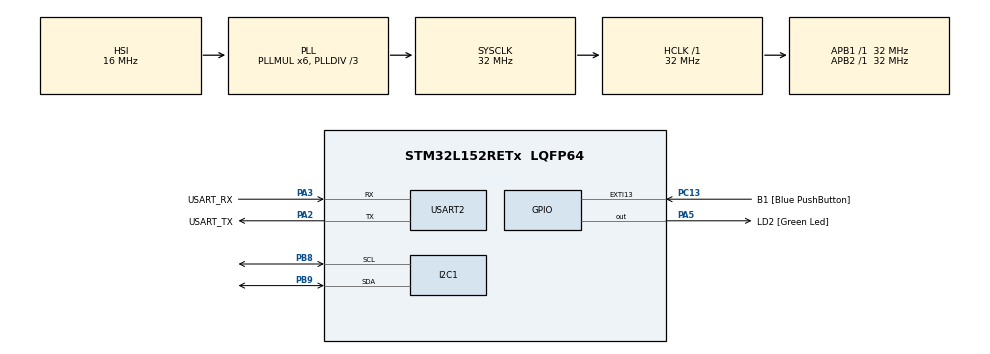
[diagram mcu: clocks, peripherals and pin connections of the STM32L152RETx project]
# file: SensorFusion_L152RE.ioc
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Mcu.Family=STM32L1
Mcu.Name=STM32L152RETx
Mcu.Package=LQFP64
NVIC.PriorityGroup=NVIC_PRIORITYGROUP_0
NVIC.TIM3_IRQn=true\:0\:0\:false\:false\:true\:true
PA13.Mode=Serial_Wire
PA13.Signal=SYS_JTMS-SWDIO
PA14.Mode=Serial_Wire
PA14.Signal=SYS_JTCK-SWCLK
PA2.GPIO_Label=USART_TX
PA2.Mode=Asynchronous
PA2.Signal=USART2_TX
PA3.GPIO_Label=USART_RX
PA3.Mode=Asynchronous
PA3.Signal=USART2_RX
PA5.GPIO_Label=LD2 [Green Led]
PA5.Signal=GPIO_Output
PB8.Mode=I2C
PB8.Signal=I2C1_SCL
PB9.Mode=I2C
PB9.Signal=I2C1_SDA
PC13-WKUP2.GPIO_Label=B1 [Blue PushButton]
PC13-WKUP2.Signal=GPXTI13
ProjectManager.HeapSize=0x200
ProjectManager.StackSize=0x400
ProjectManager.TargetToolchain=SW4STM32
RCC.48MHZClocksFreq_Value=48000000
RCC.AHBFreq_Value=32000000
RCC.APB1Freq_Value=32000000
RCC.APB1TimFreq_Value=32000000
RCC.APB2Freq_Value=32000000
RCC.APB2TimFreq_Value=32000000
RCC.HCLKFreq_Value=32000000
RCC.HSE_VALUE=8000000
RCC.HSI_VALUE=16000000
RCC.LSE_VALUE=32768
RCC.MSI_VALUE=2097000
RCC.PLLDIV=RCC_PLL_DIV3
RCC.PLLMUL=RCC_PLL_MUL6
RCC.RTCClockSelectionVirtual=RCC_RTCCLKSOURCE_LSE
RCC.SYSCLKFreq_VALUE=32000000
RCC.SYSCLKSource=RCC_SYSCLKSOURCE_PLLCLK
RCC.USBOutput=48000000
RCC.VCOOutputFreq_Value=96000000
TIM3.Period=3000
TIM3.Prescaler=32000
USART2.VirtualMode=VM_ASYNC
VP_TIM3_VS_ClockSourceINT.Mode=Internal
board=NUCLEO-L152RE

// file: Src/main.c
/**
 ******************************************************************************
 * File Name          : main.c
 * Description        : Main program body
 ******************************************************************************
 ** This notice applies to any and all portions of this file
 * that are not between comment pairs USER CODE BEGIN and
 * USER CODE END. Other portions of this file, whether
 * inserted by the user or by software development tools
 * are owned by their respective copyright owners.
 *
 * COPYRIGHT(c) 2017 STMicroelectronics
 *
 * Redistribution and use in source and binary forms, with or without modification,
 * are permitted provided that the following conditions are met:
 *   1. Redistributions of source code must retain the above copyright notice,
 *      this list of conditions and the following disclaimer.
 *   2. Redistributions in binary form must reproduce the above copyright notice,
 *      this list of conditions and the following disclaimer in the documentation
 *      and/or other materials provided with the distribution.
 *   3. Neither the name of STMicroelectronics nor the names of its contributors
 *      may be used to endorse or promote products derived from this software
 *      without specific prior written permission.
 *
 * THIS SOFTWARE IS PROVIDED BY THE COPYRIGHT HOLDERS AND CONTRIBUTORS "AS IS"
 * AND ANY EXPRESS OR IMPLIED WARRANTIES, INCLUDING, BUT NOT LIMITED TO, THE
 * IMPLIED WARRANTIES OF MERCHANTABILITY AND FITNESS FOR A PARTICULAR PURPOSE ARE
 * DISCLAIMED. IN NO EVENT SHALL THE COPYRIGHT HOLDER OR CONTRIBUTORS BE LIABLE
 * FOR ANY DIRECT, INDIRECT, INCIDENTAL, SPECIAL, EXEMPLARY, OR CONSEQUENTIAL
 * DAMAGES (INCLUDING, BUT NOT LIMITED TO, PROCUREMENT OF SUBSTITUTE GOODS OR
 * SERVICES; LOSS OF USE, DATA, OR PROFITS; OR BUSINESS INTERRUPTION) HOWEVER
 * CAUSED AND ON ANY THEORY OF LIABILITY, WHETHER IN CONTRACT, STRICT LIABILITY,
 * OR TORT (INCLUDING NEGLIGENCE OR OTHERWISE) ARISING IN ANY WAY OUT OF THE USE
 * OF THIS SOFTWARE, EVEN IF ADVISED OF THE POSSIBILITY OF SUCH DAMAGE.
 *
 ******************************************************************************
 */

#include "main.h"
#include "stm32l1xx_hal.h"

/* USER CODE BEGIN Includes */
//#include "LPS22HB_driver.cpp"
//#include "LSM303AGR_driver.cpp"
#include <string.h>
#include <stdio.h>
#include <strings.h>
#include <limits.h>
#include <math.h>
/* USER CODE END Includes */

I2C_HandleTypeDef hi2c1;
TIM_HandleTypeDef htim3;
UART_HandleTypeDef huart2;

/* USER CODE BEGIN PV */
/* Private variables ---------------------------------------------------------*/
typedef short int i16_t;
typedef unsigned char u8_t;

typedef enum {
	TWOS_COMPLEMENT_24_BIT = 24, TWOS_COMPLEMENT_16_BIT = 16,
} SignBitIndex;

typedef union {
	i16_t i16bit[3];
	u8_t u8bit[6];
} LSM303AGR_ACC_DATA;

/*
 * Following is the table of sensitivity values for each case.
 * Values are espressed in ug/digit.
 */
const long long LSM303AGR_ACC_Sensitivity_List[3][4] = {
/* HR 12-bit */
{ 980, /* FS @2g */
1950, /* FS @4g */
3900, /* FS @8g */
11720, /* FS @16g */
},

/* Normal 10-bit */
{ 3900, /* FS @2g */
7820, /* FS @4g */
15630, /* FS @8g */
46900, /* FS @16g */
},

/* LP 8-bit */
{ 15630, /* FS @2g */
31260, /* FS @4g */
62520, /* FS @8g */
187580, /* FS @16g */
}, };

HAL_I2C_StateTypeDef status = HAL_OK;
//I2C address of the accelerometer and magnetometer
//Shift already applied
#define LSM303AGR_ACC_I2C_ADDRESS         0x32
#define LSM303AGR_MAG_I2C_ADDRESS         0x3C

//Who am I
#define LSM303AGR_ACC_WHO_AM_I         0x33
#define LSM303AGR_MAG_WHO_AM_I         0x40

//Important register accelerometer
#define LSM303AGR_ACC_WHO_AM_I_REG      0X0F
#define LSM303AGR_ACC_TEMP_CFG_REG      0X1F
#define LSM303AGR_ACC_CTRL_REG1     0X20
#define LSM303AGR_ACC_CTRL_REG2     0X21
#define LSM303AGR_ACC_CTRL_REG3     0X22
#define LSM303AGR_ACC_CTRL_REG4     0X23
#define LSM303AGR_ACC_CTRL_REG5     0X24
#define LSM303AGR_ACC_CTRL_REG6     0X25
#define LSM303AGR_ACC_OUT_X_L   0X28
#define LSM303AGR_ACC_OUT_X_H   0X29
#define LSM303AGR_ACC_OUT_Y_L   0X2A
#define LSM303AGR_ACC_OUT_Y_H   0X2B
#define LSM303AGR_ACC_OUT_Z_L   0X2C
#define LSM303AGR_ACC_OUT_Z_H   0X2D
#define LSM303AGR_ACC_MULTIREAD (LSM303AGR_ACC_OUT_X_L | 0x80)
#define LSM303_ACC_XYZ_ENABLE 0x07
#define LSM303_ACC_100HZ 0x50
#define LSM303_ACC_I1_DRDY2 0x08

#define LSM303AGR_MAG_WHO_AM_I_REG      0X4F
#define LSM303AGR_MAG_CFG_REG_A     0X60
#define LSM303AGR_MAG_CFG_REG_B     0X61
#define LSM303AGR_MAG_CFG_REG_C     0X62
#define LSM303AGR_MAG_OUTX_L_REG    0X68
#define LSM303AGR_MAG_OUTX_H_REG    0X69
#define LSM303AGR_MAG_OUTY_L_REG    0X6A
#define LSM303AGR_MAG_OUTY_H_REG    0X6B
#define LSM303AGR_MAG_OUTZ_L_REG    0X6C
#define LSM303AGR_MAG_OUTZ_H_REG    0X6D
#define LSM303AGR_MAG_MULTIREAD (LSM303AGR_MAG_OUTX_L_REG | 0x80)
#define LSM303_SETTINGS1 0x00 // Mag = 10 Hz (HR and continuous mode) //This has to be set to single mode for lower power consumption
#define LSM303_SETTINGS2 0x01 // Mag data-ready interrupt enable

#define X 0
#define Y 1
#define Z 2

int32_t axes_a[3];
int32_t axes_m[3];
float roll = 0, pitch = 0, roll_rad = 0, pitch_rad = 0;
float yaw_rad = 0, degree = 0, godr = 0;
float temp[3] = { }, hardCor[3] = { };

/* USER CODE END PV */

void SystemClock_Config(void);
static void MX_GPIO_Init(void);
static void MX_USART2_UART_Init(void);
static void MX_I2C1_Init(void);
static void MX_TIM3_Init(void);

/* USER CODE BEGIN PFP */
/* Private function prototypes -----------------------------------------------*/
#ifdef __GNUC__
/* With GCC/RAISONANCE, small printf (option LD Linker->Libraries->Small printf
 set to 'Yes') calls __io_putchar() */
#define PUTCHAR_PROTOTYPE int __io_putchar(int ch)
#else
#define PUTCHAR_PROTOTYPE int fputc(int ch, FILE *f)
#endif /* __GNUC__ */
/**
 * @brief  Retargets the C library printf function to the USART.
 * @param  None
 * @retval None
 */
PUTCHAR_PROTOTYPE {
	/* Place your implementation of fputc here */
	/* e.g. write a character to the EVAL_COM1 and Loop until the end of transmission */
	HAL_UART_Transmit(&huart2, (uint8_t *) &ch, 1, 0xFFFF);

	return ch;
}
int64_t twosComplementToSignedInteger(uint32_t rawValue, SignBitIndex sbi);
/* USER CODE END PFP */

int main(void) {

	/* MCU Configuration----------------------------------------------------------*/
	/* Reset of all peripherals, Initializes the Flash interface and the Systick. */
	HAL_Init();

	/* Configure the system clock */
	SystemClock_Config();

	/* Initialize all configured peripherals */
	MX_GPIO_Init();
	MX_USART2_UART_Init();
	MX_I2C1_Init();
	MX_TIM3_Init();

	/* USER CODE BEGIN 2 */
	//Check the who am I
	// 5ms boot procedure
	HAL_Delay(10);

	// Reading the who am I register for checking
	uint8_t hwID[1];
	HAL_I2C_Mem_Read(&hi2c1, LSM303AGR_ACC_I2C_ADDRESS,
	LSM303AGR_ACC_WHO_AM_I_REG, I2C_MEMADD_SIZE_8BIT, hwID, sizeof(hwID),
	HAL_MAX_DELAY);
	if (hwID[0] == LSM303AGR_ACC_WHO_AM_I) {
		printf("WHO_AM_I of accelerometer correct!!\r\n");
	} else {
		printf("Error!!\r\n");
	}

	uint8_t Settings = LSM303_ACC_XYZ_ENABLE | LSM303_ACC_100HZ;
	// I2C write settings
	HAL_I2C_Mem_Write(&hi2c1, LSM303AGR_ACC_I2C_ADDRESS,
	LSM303AGR_ACC_CTRL_REG1, 1, &Settings, 1, 100);
	Settings = LSM303_ACC_I1_DRDY2;
	HAL_I2C_Mem_Write(&hi2c1, LSM303AGR_ACC_I2C_ADDRESS,
	LSM303AGR_ACC_CTRL_REG3, 1, &Settings, 1, 100);

	// Mag = 10 Hz (HR and continuous mode) //This has to be set to single mode for lower power consumption
	Settings = LSM303_SETTINGS1;
	HAL_I2C_Mem_Write(&hi2c1, LSM303AGR_MAG_I2C_ADDRESS,
	LSM303AGR_MAG_CFG_REG_A, 1, &Settings, 1, 100);

	// Mag data-ready interrupt enable
	Settings = LSM303_SETTINGS2;
	HAL_I2C_Mem_Write(&hi2c1, LSM303AGR_MAG_I2C_ADDRESS,
	LSM303AGR_MAG_CFG_REG_C, 1, &Settings, 1, 100);

	printf("Devices ready\r\n");
	/* USER CODE END 2 */

	/* Infinite loop */
	while (1) {

		/* USER CODE BEGIN 3 */
		get_x_axes(axes_a);
		printf("LSM303AGR [acc/mg]:  %6ld, %6ld, %6ld\r\n", axes_a[0],
				axes_a[1], axes_a[2]);

		get_m_axes(axes_m);
		printf("LSM303AGR [mag/mgauss]:  %6ld, %6ld, %6ld\r\n", axes_m[0],
				axes_m[1], axes_m[2]);

		HAL_Delay(1000);

		printf("\r\n");
		roll_rad = atan2((float) axes_a[Y], axes_a[Z]);
		roll = roll_rad * 57.296;

		temp[0] = (float) axes_a[Y] * sin(roll_rad);
		temp[1] = cos(roll_rad) * (float) axes_a[Z] + temp[0];
		pitch_rad = -atan2((float) axes_a[X],
				sqrt(pow((float) axes_a[Y], 2) + pow((float) axes_a[Z], 2)));//temp[1]);
		pitch = pitch_rad * 57.296;
		printf("Angle: roll: %6lf   pitch: %6lf \r\n ", roll, pitch);

		//Determining where the head of the compass is pointed at
		temp[0] = axes_m[Z] * sin(roll_rad) - axes_m[Y] * cos(roll_rad);
		temp[1] = axes_m[Y] * sin(roll_rad) + axes_m[Z] * cos(roll_rad);
		temp[2] = axes_m[X] * cos(pitch_rad) + temp[1] * sin(pitch_rad);
		yaw_rad = atan2((float) temp[0], temp[2]);
		degree = yaw_rad * 57.296; //180/PI
		degree = degree + 50;

		//Transforming degrees into a wind direction
		if (degree > 360) {
			degree = degree - 360;
		}
		if (degree < 0) {
			degree = degree + 360;
		}
		printf("degree: %lf\r\n", degree);
		if (degree > 22.5 && degree < 67.5) {
			printf("Direction: North-East\r\n");
		} else if (degree > 67.5 && degree < 112.5) {
			printf("Direction: East\r\n");
		} else if (degree > 112.5 && degree < 157.5) {
			printf("Direction: South-East\r\n");
		} else if (degree > 157.5 && degree < 202.5) {
			printf("Direction: South\r\n");
		} else if (degree > 202.5 && degree < 247.5) {
			printf("Direction: South-West\r\n");
		} else if (degree > 247.5 && degree < 292.5) {
			printf("Direction: West\r\n");
		} else if (degree > 292.5 && degree < 337.25) {
			printf("Direction: North-West\r\n");
		} else if (degree > 337.25 || degree < 22.5) {
			printf("Direction: North\r\n");
		}

		HAL_Delay(1000);

	}
	/* USER CODE END 3 */

}

/** System Clock Configuration
 */
void SystemClock_Config(void) {

	RCC_OscInitTypeDef RCC_OscInitStruct;
	RCC_ClkInitTypeDef RCC_ClkInitStruct;

	/**Configure the main internal regulator output voltage
	 */
	__HAL_PWR_VOLTAGESCALING_CONFIG(PWR_REGULATOR_VOLTAGE_SCALE1);

	/**Initializes the CPU, AHB and APB busses clocks
	 */
	RCC_OscInitStruct.OscillatorType = RCC_OSCILLATORTYPE_HSI;
	RCC_OscInitStruct.HSIState = RCC_HSI_ON;
	RCC_OscInitStruct.HSICalibrationValue = 16;
	RCC_OscInitStruct.PLL.PLLState = RCC_PLL_ON;
	RCC_OscInitStruct.PLL.PLLSource = RCC_PLLSOURCE_HSI;
	RCC_OscInitStruct.PLL.PLLMUL = RCC_PLL_MUL6;
	RCC_OscInitStruct.PLL.PLLDIV = RCC_PLL_DIV3;
	if (HAL_RCC_OscConfig(&RCC_OscInitStruct) != HAL_OK) {
		_Error_Handler(__FILE__, __LINE__);
	}

	/**Initializes the CPU, AHB and APB busses clocks
	 */
	RCC_ClkInitStruct.ClockType = RCC_CLOCKTYPE_HCLK | RCC_CLOCKTYPE_SYSCLK
			| RCC_CLOCKTYPE_PCLK1 | RCC_CLOCKTYPE_PCLK2;
	RCC_ClkInitStruct.SYSCLKSource = RCC_SYSCLKSOURCE_PLLCLK;
	RCC_ClkInitStruct.AHBCLKDivider = RCC_SYSCLK_DIV1;
	RCC_ClkInitStruct.APB1CLKDivider = RCC_HCLK_DIV1;
	RCC_ClkInitStruct.APB2CLKDivider = RCC_HCLK_DIV1;

	if (HAL_RCC_ClockConfig(&RCC_ClkInitStruct, FLASH_LATENCY_1) != HAL_OK) {
		_Error_Handler(__FILE__, __LINE__);
	}

	/**Configure the Systick interrupt time
	 */
	HAL_SYSTICK_Config(HAL_RCC_GetHCLKFreq() / 1000);

	/**Configure the Systick
	 */
	HAL_SYSTICK_CLKSourceConfig(SYSTICK_CLKSOURCE_HCLK);

	/* SysTick_IRQn interrupt configuration */
	HAL_NVIC_SetPriority(SysTick_IRQn, 0, 0);
}

/* I2C1 init function */
static void MX_I2C1_Init(void) {

	hi2c1.Instance = I2C1;
	hi2c1.Init.ClockSpeed = 100000;
	hi2c1.Init.DutyCycle = I2C_DUTYCYCLE_2;
	hi2c1.Init.OwnAddress1 = 0;
	hi2c1.Init.AddressingMode = I2C_ADDRESSINGMODE_7BIT;
	hi2c1.Init.DualAddressMode = I2C_DUALADDRESS_DISABLE;
	hi2c1.Init.OwnAddress2 = 0;
	hi2c1.Init.GeneralCallMode = I2C_GENERALCALL_DISABLE;
	hi2c1.Init.NoStretchMode = I2C_NOSTRETCH_DISABLE;
	if (HAL_I2C_Init(&hi2c1) != HAL_OK) {
		_Error_Handler(__FILE__, __LINE__);
	}

}

/* TIM3 init function */
static void MX_TIM3_Init(void) {

	TIM_ClockConfigTypeDef sClockSourceConfig;
	TIM_MasterConfigTypeDef sMasterConfig;

	htim3.Instance = TIM3;
	htim3.Init.Prescaler = 32000;
	htim3.Init.CounterMode = TIM_COUNTERMODE_UP;
	htim3.Init.Period = 3000;
	htim3.Init.ClockDivision = TIM_CLOCKDIVISION_DIV1;
	if (HAL_TIM_Base_Init(&htim3) != HAL_OK) {
		_Error_Handler(__FILE__, __LINE__);
	}

	sClockSourceConfig.ClockSource = TIM_CLOCKSOURCE_INTERNAL;
	if (HAL_TIM_ConfigClockSource(&htim3, &sClockSourceConfig) != HAL_OK) {
		_Error_Handler(__FILE__, __LINE__);
	}

	sMasterConfig.MasterOutputTrigger = TIM_TRGO_RESET;
	sMasterConfig.MasterSlaveMode = TIM_MASTERSLAVEMODE_DISABLE;
	if (HAL_TIMEx_MasterConfigSynchronization(&htim3, &sMasterConfig)
			!= HAL_OK) {
		_Error_Handler(__FILE__, __LINE__);
	}

}

/* USART2 init function */
static void MX_USART2_UART_Init(void) {

	huart2.Instance = USART2;
	huart2.Init.BaudRate = 9600;
	huart2.Init.WordLength = UART_WORDLENGTH_8B;
	huart2.Init.StopBits = UART_STOPBITS_1;
	huart2.Init.Parity = UART_PARITY_NONE;
	huart2.Init.Mode = UART_MODE_TX_RX;
	huart2.Init.HwFlowCtl = UART_HWCONTROL_NONE;
	huart2.Init.OverSampling = UART_OVERSAMPLING_16;
	if (HAL_UART_Init(&huart2) != HAL_OK) {
		_Error_Handler(__FILE__, __LINE__);
	}

}

/** Configure pins as
 * Analog
 * Input
 * Output
 * EVENT_OUT
 * EXTI
 */
static void MX_GPIO_Init(void) {

	GPIO_InitTypeDef GPIO_InitStruct;

	/* GPIO Ports Clock Enable */
	__HAL_RCC_GPIOC_CLK_ENABLE()
	;
	__HAL_RCC_GPIOA_CLK_ENABLE()
	;
	__HAL_RCC_GPIOB_CLK_ENABLE()
	;

	/*Configure GPIO pin Output Level */
	HAL_GPIO_WritePin(LD2_GPIO_Port, LD2_Pin, GPIO_PIN_RESET);

	/*Configure GPIO pin : B1_Pin */
	GPIO_InitStruct.Pin = B1_Pin;
	GPIO_InitStruct.Mode = GPIO_MODE_IT_RISING;
	GPIO_InitStruct.Pull = GPIO_NOPULL;
	HAL_GPIO_Init(B1_GPIO_Port, &GPIO_InitStruct);

	/*Configure GPIO pin : LD2_Pin */
	GPIO_InitStruct.Pin = LD2_Pin;
	GPIO_InitStruct.Mode = GPIO_MODE_OUTPUT_PP;
	GPIO_InitStruct.Pull = GPIO_NOPULL;
	GPIO_InitStruct.Speed = GPIO_SPEED_FREQ_LOW;
	HAL_GPIO_Init(LD2_GPIO_Port, &GPIO_InitStruct);

}

/* USER CODE BEGIN 4 */

int64_t twosComplementToSignedInteger(uint32_t rawValue, SignBitIndex sbi) {
	switch (sbi) {
	case TWOS_COMPLEMENT_24_BIT: {
		if ((rawValue & 0x00800000) == 0)
			return (rawValue & 0x00FFFFFF);
		return ((int64_t) (~((rawValue & 0x00FFFFFF) - 1))) * -1;
	}
	case TWOS_COMPLEMENT_16_BIT: {
		if ((rawValue & 0x00008000) == 0)
			return (rawValue & 0x0000FFFF);
		return ((int64_t) (~((rawValue & 0x0000FFFF) - 1))) * -1;
	}
	default:
		return NAN;
	}
}

HAL_I2C_StateTypeDef LSM303AGR_ACC_readRegister(uint8_t reg, uint8_t pData[]) {

	return HAL_I2C_Mem_Read(&hi2c1, LSM303AGR_ACC_I2C_ADDRESS, reg,
	I2C_MEMADD_SIZE_8BIT, pData, sizeof(pData), HAL_MAX_DELAY);
}

HAL_I2C_StateTypeDef LSM303AGR_MAG_readRegister(uint8_t reg, uint8_t pData[]) {

	return HAL_I2C_Mem_Read(&hi2c1, LSM303AGR_MAG_I2C_ADDRESS, reg,
	I2C_MEMADD_SIZE_8BIT, pData, sizeof(pData), HAL_MAX_DELAY);

}

/**
 * @brief  Read data from LSM303AGR Accelerometer
 * @param  pData the pointer where the accelerometer data are stored
 * @retval 0 in case of success, an error code otherwise
 */
void get_x_axes(int32_t *pData) {

	int data[3];

	/* Read data from LSM303AGR. */
	LSM303AGR_ACC_Get_Acceleration(data);

	/* Calculate the data. */
	pData[0] = (int32_t) data[0];
	pData[1] = (int32_t) data[1];
	pData[2] = (int32_t) data[2];

}

/*
 * Following is the table of sensitivity values for each case.
 * Values are espressed in ug/digit.
 */
void LSM303AGR_ACC_Get_Acceleration(int *buff) {

	LSM303AGR_ACC_DATA raw_data_tmp;

	// Normal mode 10-bit, shift = 6 and FS = 2
	unsigned char op_mode = 2, fs_mode = 0, shift = 4;

	/* Read out raw accelerometer samples */
	//LSM303AGR_ACC_readRegister(LSM303AGR_ACC_MULTIREAD, raw_data_tmp.u8bit);
	HAL_I2C_Mem_Read(&hi2c1, LSM303AGR_ACC_I2C_ADDRESS, LSM303AGR_ACC_MULTIREAD,
	I2C_MEMADD_SIZE_8BIT, raw_data_tmp.u8bit, sizeof(raw_data_tmp.u8bit),
	HAL_MAX_DELAY);

	raw_data_tmp.i16bit[0] = (raw_data_tmp.u8bit[1] << 8)
			| raw_data_tmp.u8bit[0];
	raw_data_tmp.i16bit[1] = (raw_data_tmp.u8bit[3] << 8)
			| raw_data_tmp.u8bit[2];
	raw_data_tmp.i16bit[2] = (raw_data_tmp.u8bit[5] << 8)
			| raw_data_tmp.u8bit[4];

	/* Apply proper shift and sensitivity */
	buff[0] = ((raw_data_tmp.i16bit[0] >> shift)
			* LSM303AGR_ACC_Sensitivity_List[op_mode][fs_mode] + 500) / 1000;
	buff[1] = ((raw_data_tmp.i16bit[1] >> shift)
			* LSM303AGR_ACC_Sensitivity_List[op_mode][fs_mode] + 500) / 1000;
	buff[2] = ((raw_data_tmp.i16bit[2] >> shift)
			* LSM303AGR_ACC_Sensitivity_List[op_mode][fs_mode] + 500) / 1000;

}

/**
 * @brief  Read raw data from LSM303AGR Magnetometer
 * @param  pData the pointer where the magnetomer raw data are stored
 * @retval 0 in case of success, an error code otherwise
 */
void get_m_axes(int32_t *pData) {

	int16_t pDataRaw[3];
	float sensitivity = 1.5;

	/* Read raw data from LSM303AGR output register. */
	get_m_axes_raw(pDataRaw);

	/* Calculate the data. */
	pData[0] = (int32_t) (pDataRaw[0] * sensitivity);
	pData[1] = (int32_t) (pDataRaw[1] * sensitivity);
	pData[2] = (int32_t) (pDataRaw[2] * sensitivity);

}

/**
 * @brief  Read raw data from LSM303AGR Magnetometer
 * @param  pData the pointer where the magnetomer raw data are stored
 * @retval 0 in case of success, an error code otherwise
 */
void get_m_axes_raw(int16_t *pData) {

	uint8_t regValue[6] = { 0, 0, 0, 0, 0, 0 };
	int16_t *regValueInt16;
	//Type3Axis16bit_U raw_data_tmp;

	/* Read output registers from LSM303AGR_MAG_OUTX_L to LSM303AGR_MAG_OUTZ_H. */
//	LSM303AGR_MAG_readRegister(LSM303AGR_ACC_MULTIREAD, regValue);
	HAL_I2C_Mem_Read(&hi2c1, LSM303AGR_MAG_I2C_ADDRESS, LSM303AGR_MAG_MULTIREAD,
	I2C_MEMADD_SIZE_8BIT, regValue, sizeof(regValue), HAL_MAX_DELAY);

	regValueInt16 = (int16_t *) regValue;

	/* Format the data. */
	pData[0] = regValueInt16[0];
	pData[1] = regValueInt16[1];
	pData[2] = regValueInt16[2];

}

/* USER CODE END 4 */

void _Error_Handler(char * file, int line) {
	while (1) {
	}
}

/************************ (C) COPYRIGHT STMicroelectronics *****END OF FILE****/
